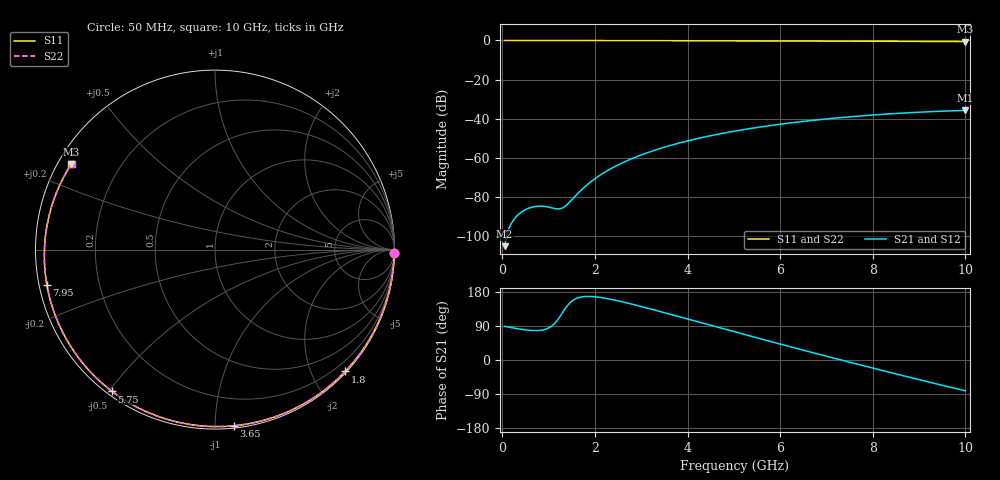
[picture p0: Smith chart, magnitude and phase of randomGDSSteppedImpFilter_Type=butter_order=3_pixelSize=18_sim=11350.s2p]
! freq	dB(S11)	phase(S11)	dB(S12)	phase(S12)
!  dB(S21)	phase(S21)	dB(S22)	phase(S22)
!S-par simulation data
#  GHz  S  DB  R 50
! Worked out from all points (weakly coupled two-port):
!   200 points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, 50 MHz to 10 GHz, reference 50 ohm
!   highest |S21| = -35.83 dB at 10 GHz (marker M1); lowest = -105.3 dB at 50 MHz (marker M2)
!   lowest |S11| = -0.6 dB at 10 GHz (marker M3), VSWR 28.33, Z = 1.9 + j13.7 ohm
!   |S11| at or under -10 dB: nowhere
!   |S22| runs from -0.6 to 0.0 dB; largest |S21 - S12| = 0
!   S11 on the Smith chart (normalised r, x): 50 MHz: 2, -97; 1.8 GHz: 0.02, -2.53; 3.65 GHz: 0.01, -1.11; 5.75 GHz: 0.02, -0.51; 7.95 GHz: 0.02, -0.10; 10 GHz: 0.04, +0.27
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0.05  -0.00 -1.2  -105.32 88.8  -105.32 88.8  -0.00 -1.2
0.45  -0.02 -10.9  -87.26 80.2  -87.26 80.2  -0.02 -11.0
0.8  -0.02 -19.4  -84.83 78.0  -84.83 78.0  -0.02 -19.4
1.55  -0.05 -37.3  -80.33 159.3  -80.33 159.3  -0.05 -37.3
1.75  -0.05 -41.9  -75.58 167.1  -75.58 167.1  -0.05 -42.0
1.8  -0.05 -43.1  -74.52 167.6  -74.52 167.6  -0.05 -43.1
2.1  -0.06 -50.0  -69.13 165.4  -69.13 165.4  -0.06 -50.0
2.45  -0.07 -57.9  -64.31 157.4  -64.31 157.4  -0.07 -58.0
2.9  -0.09 -67.9  -59.52 144.2  -59.52 144.2  -0.09 -68.0
3.4  -0.10 -78.7  -55.36 128.2  -55.36 128.2  -0.10 -78.8
3.65  -0.11 -84.0  -53.60 119.9  -53.60 119.9  -0.11 -84.1
4.35  -0.14 -98.4  -49.50 96.5  -49.50 96.5  -0.14 -98.5
5.05  -0.17 -112.4  -46.27 73.2  -46.27 73.2  -0.17 -112.5
5.75  -0.21 -126.0  -43.68 50.1  -43.68 50.1  -0.21 -126.1
6.7  -0.27 -144.1  -40.91 19.4  -40.91 19.4  -0.27 -144.2
7.35  -0.33 -156.5  -39.41 -1.1  -39.41 -1.1  -0.33 -156.6
7.95  -0.38 -168.1  -38.25 -19.8  -38.25 -19.8  -0.38 -168.2
8.35  -0.42 -176.0  -37.60 -32.1  -37.60 -32.1  -0.42 -176.1
8.8  -0.47 175.0  -36.97 -45.8  -36.97 -45.8  -0.47 174.8
9.2  -0.52 166.7  -36.50 -57.8  -36.50 -57.8  -0.52 166.5
9.6  -0.56 158.1  -36.12 -69.7  -36.12 -69.7  -0.56 158.0
10  -0.61 149.2  -35.83 -81.3  -35.83 -81.3  -0.61 149.1
